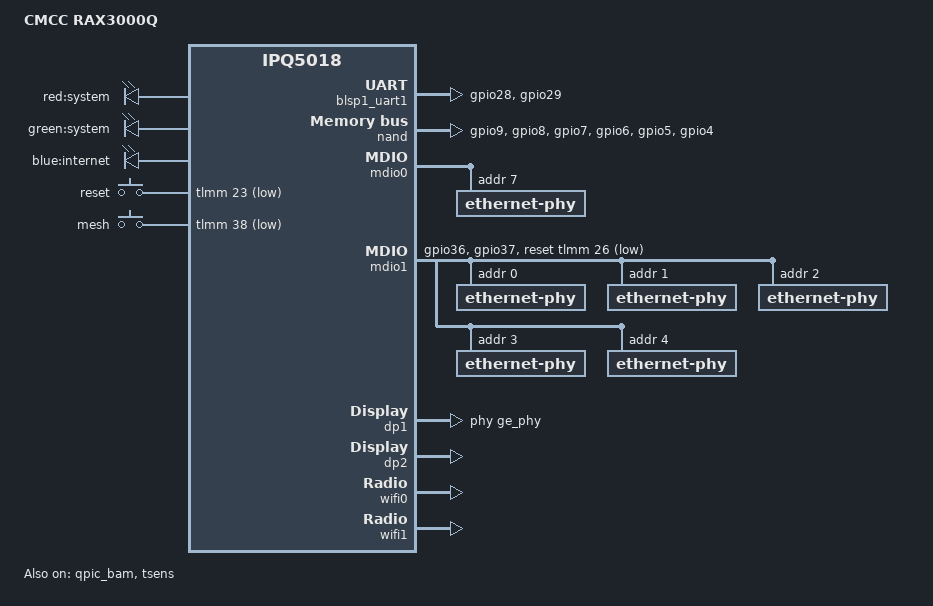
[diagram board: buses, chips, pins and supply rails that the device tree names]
// SPDX-License-Identifier: GPL-2.0-or-later OR MIT

/dts-v1/;

#include "ipq5018.dtsi"
#include <dt-bindings/gpio/gpio.h>
#include <dt-bindings/input/input.h>

/ {
	model = "CMCC RAX3000Q";
	compatible = "cmcc,rax3000q", "qcom,ipq5018";

	#address-cells = <2>;
	#size-cells = <2>;
	interrupt-parent = <&intc>;

	aliases {
		serial0 = &blsp1_uart1;

		ethernet0 = &dp1;
		ethernet1 = &dp2;

		led-boot = &led_status_green;
		led-failsafe = &led_status_red;
		led-running = &led_status_green;
		led-upgrade = &led_status_blue;
	};

	chosen {
		bootargs-append = " root=/dev/ubiblock0_1 coherent_pool=2M";
		stdout-path = "serial0:115200n8";
	};

	reserved-memory {
		q6_mem_regions: q6_mem_regions@4b000000 {
			no-map;
#ifndef CONFIG_ATH11K_MEM_PROFILE_256M
			reg = <0x0 0x4b000000 0x0 0x3b00000>;
#else
			reg = <0x0 0x4b000000 0x0 0x3000000>;
#endif
		};
	};
};

&blsp1_uart1 {
	pinctrl-0 = <&blsp_uart0_pins>;
	pinctrl-names = "default";
	status = "okay";
};

&qpic_bam {
	status = "okay";
};

/* NAND flash configuration */
&nand {
	pinctrl-0 = <&qspi_nand_pins>;
	pinctrl-names = "default";
	status = "okay";
};

&tsens {
	status = "okay";
};

&tlmm {
	blsp_uart0_pins: blsp_uart0_pins {
		pins =
			"gpio28", /* RX */
			"gpio29"; /* TX */
		function = "blsp0_uart1";
		drive-strength = <8>;
		bias-disable;
	};

	qspi_nand_pins: qspi_nand_pins {
		clock {
			pins = "gpio9";
			function = "qspi_clk";
			drive-strength = <8>;
			bias-disable;
		};

		cs {
			pins = "gpio8";
			function = "qspi_cs";
			drive-strength = <8>;
			bias-disable;
		};

		data {
			pins = "gpio7", "gpio6", "gpio5", "gpio4";
			function = "qspi_data";
			drive-strength = <8>;
			bias-disable;
		};
	};

	mdio1_pins: mdio1_pins {
		mdc {
			pins = "gpio36";
			function = "mdc";
			drive-strength = <8>;
			bias-pull-up;
		};

		mdio {
			pins = "gpio37";
			function = "mdio";
			drive-strength = <8>;
			bias-pull-up;
		};
	};

	leds_pins: leds_pins {
		led_status_red {
			pins = "gpio24";
			function = "gpio";
			drive-strength = <8>;
			bias-pull-down;
		};

		led_status_green {
			pins = "gpio19";
			function = "gpio";
			drive-strength = <8>;
			bias-pull-down;
		};

		led_status_blue {
			pins = "gpio17";
			function = "gpio";
			drive-strength = <8>;
			bias-pull-down;
		};
	};

	button_pins: button_pins {
		button_reset {
			pins = "gpio23";
			function = "gpio";
			drive-strength = <8>;
			bias-pull-up;
		};

		button_mesh {
			pins = "gpio38";
			function = "gpio";
			drive-strength = <8>;
			bias-pull-up;
		};
	};
};

&soc {
	leds {
		compatible = "gpio-leds";
		pinctrl-0 = <&leds_pins>;
		pinctrl-names = "default";

		led_status_red: led_status_red {
			label = "red:system";
			gpio = <&tlmm 24 GPIO_ACTIVE_HIGH>;
		};

		led_status_green: led_status_green {
			label = "green:system";
			gpio = <&tlmm 19 GPIO_ACTIVE_HIGH>;
		};

		led_status_blue: led_status_blue {
			label = "blue:internet";
			gpio = <&tlmm 17 GPIO_ACTIVE_HIGH>;
		};
	};

	button {
		compatible = "gpio-keys";
		pinctrl-0 = <&button_pins>;
		pinctrl-names = "default";

		button_reset {
			label = "reset";
			gpios = <&tlmm 23 GPIO_ACTIVE_LOW>;
			linux,input-type = <EV_KEY>;
			linux,code = <KEY_RESTART>;
			debounce-interval = <60>;
		};

		button_mesh {
			label = "mesh";
			gpios = <&tlmm 38 GPIO_ACTIVE_LOW>;
			linux,input-type = <EV_KEY>;
			linux,code = <KEY_WPS_BUTTON>;
			debounce-interval = <60>;
		};
	};
};

&mdio0 {
	status = "okay";

	/* IPQ5018 GE Phy */
	ethernet-phy@7 {
		reg = <7>;
	};
};

&mdio1 {
	pinctrl-0 = <&mdio1_pins>;
	pinctrl-names = "default";
	status = "okay";

	reset-gpios = <&tlmm 26 GPIO_ACTIVE_LOW>;

	/* QCA8337 Phy0 -> WAN */
	ethernet-phy@0 {
		reg = <0>;
	};

	/* QCA8337 Phy1 -> LAN1 */
	ethernet-phy@1 {
		reg = <1>;
	};

	/* QCA8337 Phy2 -> IPQ5018 GE Phy */
	ethernet-phy@2 {
		reg = <2>;
	};

	/* QCA8337 Phy3 -> LAN2 */
	ethernet-phy@3 {
		reg = <3>;
	};

	/* QCA8337 Phy4 -> LAN3 */
	ethernet-phy@4 {
		reg = <4>;
	};
};

&dp1 {
	status = "okay";
	phy-handle = <&ge_phy>;
};

&dp2 {
	status = "okay";
};

&ess_instance {
	num_devices = <2>;
};

/* WiFi configuration - Fixed with proper calibration variant */
&wifi0 {
	qcom,multipd_arch;
	qcom,rproc = <&q6_wcss_pd1>;
	qcom,userpd-subsys-name = "q6v5_wcss_userpd1";

	/* Calibration variant for CMCC RAX3000Q */
	qcom,ath11k-calibration-variant = "CMCC-RAX3000Q";
	
	qcom,board_id = <0x24>;

	qcom,bdf-addr = <0x4c400000 0x4c400000 0x4c400000>;
	qcom,caldb-addr = <0x4d200000 0x4d200000 0>;
#ifndef CONFIG_ATH11K_MEM_PROFILE_256M
	m3-dump-addr = <0x4d400000>;
#else
	m3-dump-addr = <0>;
#endif

	status = "okay";
};

&wifi1 {
	qcom,multipd_arch;
	qcom,rproc = <&q6_wcss_pd2>;
	qcom,userpd-subsys-name = "q6v5_wcss_userpd2";

	/* Calibration variant for CMCC RAX3000Q */
	qcom,ath11k-calibration-variant = "CMCC-RAX3000Q";
	
	qcom,board_id = <0x60>;

	qcom,bdf-addr = <0x4d500000 0x4d500000 0x4d100000>;
	qcom,caldb-addr = <0x4e500000 0x4e500000 0>;
#ifndef CONFIG_ATH11K_MEM_PROFILE_256M
	m3-dump-addr = <0x4ea00000>;
#else
	m3-dump-addr = <0x4df00000>;
#endif

	status = "okay";
};
